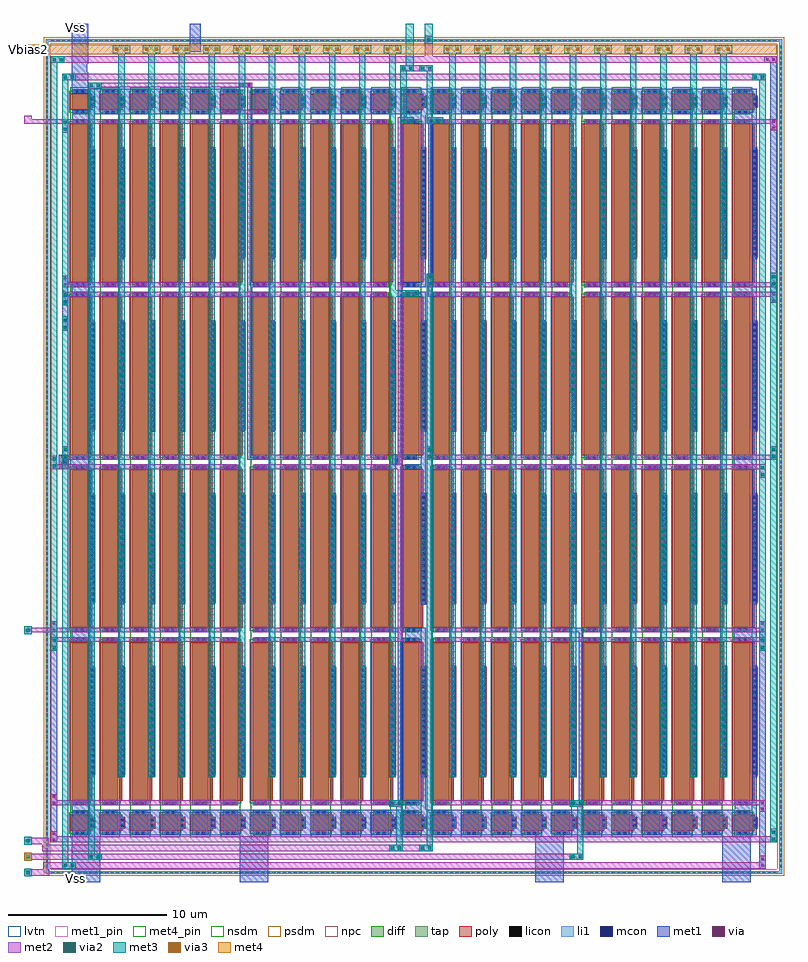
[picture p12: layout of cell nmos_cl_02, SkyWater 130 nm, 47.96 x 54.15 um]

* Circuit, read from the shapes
.subckt nmos_cl_02 Vbias2 Vss
XM1 Vss Vss Vss Vss sky130_fd_pr__nfet_01v8_lvt w=1 l=1 m=46
XM2 Vss Vss Vss Vss sky130_fd_pr__nfet_01v8_lvt w=1 l=10 m=10
XM3 n1 Vbias2 n2 Vss sky130_fd_pr__nfet_01v8_lvt w=1 l=10 m=20
XM4 n3 Vbias2 n4 Vss sky130_fd_pr__nfet_01v8_lvt w=1 l=10 m=20
XM5 n5 Vbias2 n6 Vss sky130_fd_pr__nfet_01v8_lvt w=1 l=10 m=20
XM6 n3 Vbias2 n7 Vss sky130_fd_pr__nfet_01v8_lvt w=1 l=10 m=20
XM7 Vbias2 Vbias2 Vss Vss sky130_fd_pr__nfet_01v8_lvt w=1 l=10 m=2
.ends

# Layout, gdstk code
from math import pi, radians
import gdstk
lib = gdstk.Library(unit=1e-6, precision=1e-09)
def R(c, l, rs):  # rectangles x0, y0, x1, y1
    for r in rs: c.add(gdstk.rectangle(r[:2], r[2:], *l))
def A(c, l, x, y, w, h, nx, ny, dx, dy):  # array of equal rectangles
    R(c, l, [(x+i*dx, y+j*dy, x+i*dx+w, y+j*dy+h) for i in range(nx) for j in range(ny)])
diff = (65, 20)
tap = (65, 44)
poly = (66, 20)
licon = (66, 44)
li1 = (67, 20)
mcon = (67, 44)
met1_pin = (68, 16)
met1 = (68, 20)
via = (68, 44)
met2 = (69, 20)
via2 = (69, 44)
met3 = (70, 20)
via3 = (70, 44)
met4_pin = (71, 16)
met4 = (71, 20)
nsdm = (93, 44)
psdm = (94, 20)
npc = (95, 20)
lvtn = (125, 44)

sky130_fd_pr__nfet_01v8_ = lib.new_cell('sky130_fd_pr__nfet_01v8_lvt_6WKBEZ')
R(sky130_fd_pr__nfet_01v8_, diff, [(-0.79,-0.655,0.79,0.345)])
R(sky130_fd_pr__nfet_01v8_, poly, [(-0.5,-0.785,0.5,0.62), (-0.375,0.62,0.375,0.785)])
R(sky130_fd_pr__nfet_01v8_, licon, [(-0.73,-0.41,-0.56,-0.24), (0.56,-0.41,0.73,-0.24), (-0.73,-0.07,-0.56,0.1), (0.56,-0.07,0.73,0.1), (-0.255,0.535,-0.085,0.705), (0.085,0.535,0.255,0.705)])
R(sky130_fd_pr__nfet_01v8_, li1, [(-0.73,-0.545,-0.56,0.235), (0.56,-0.545,0.73,0.235), (-0.375,0.535,0.375,0.705)])
R(sky130_fd_pr__nfet_01v8_, mcon, [(-0.73,-0.42,-0.56,-0.25), (0.56,-0.42,0.73,-0.25), (-0.73,-0.06,-0.56,0.11), (0.56,-0.06,0.73,0.11), (-0.265,0.535,-0.095,0.705), (0.095,0.535,0.265,0.705)])
R(sky130_fd_pr__nfet_01v8_, met1, [(-0.76,-0.525,-0.53,0.215), (0.53,-0.525,0.76,0.215), (-0.355,0.505,0.355,0.735)])
R(sky130_fd_pr__nfet_01v8_, nsdm, [(-0.915,-0.78,0.915,0.47)])
R(sky130_fd_pr__nfet_01v8_, npc, [(-0.355,0.435,0.355,0.805)])
R(sky130_fd_pr__nfet_01v8_, lvtn, [(-0.68,-0.835,0.68,0.525)])

c_sky130_fd_pr__nfet_01v8_ = lib.new_cell('sky130_fd_pr__nfet_01v8_lvt_F22EEM')
R(c_sky130_fd_pr__nfet_01v8_, diff, [(-5.29,-0.655,5.29,0.345)])
R(c_sky130_fd_pr__nfet_01v8_, poly, [(-5,-0.785,5,0.62), (-3.525,0.62,3.525,0.785)])
A(c_sky130_fd_pr__nfet_01v8_, licon, -3.315, 0.535, 0.17, 0.17, 20, 1, 0.34, 0)
R(c_sky130_fd_pr__nfet_01v8_, licon, [(-5.23,-0.41,-5.06,-0.24), (5.06,-0.41,5.23,-0.24), (-5.23,-0.07,-5.06,0.1), (5.06,-0.07,5.23,0.1)])
R(c_sky130_fd_pr__nfet_01v8_, li1, [(-5.23,-0.545,-5.06,0.235), (5.06,-0.545,5.23,0.235), (-3.525,0.535,3.525,0.705)])
A(c_sky130_fd_pr__nfet_01v8_, mcon, -3.325, 0.535, 0.17, 0.17, 19, 1, 0.36, 0)
R(c_sky130_fd_pr__nfet_01v8_, mcon, [(-5.23,-0.42,-5.06,-0.25), (5.06,-0.42,5.23,-0.25), (-5.23,-0.06,-5.06,0.11), (5.06,-0.06,5.23,0.11)])
R(c_sky130_fd_pr__nfet_01v8_, met1, [(-5.26,-0.525,-5.03,0.215), (5.03,-0.525,5.26,0.215), (-3.505,0.505,3.505,0.735)])
R(c_sky130_fd_pr__nfet_01v8_, nsdm, [(-5.415,-0.78,5.415,0.47)])
R(c_sky130_fd_pr__nfet_01v8_, npc, [(-3.415,0.435,3.415,0.805)])
R(c_sky130_fd_pr__nfet_01v8_, lvtn, [(-5.18,-0.835,5.18,0.525)])

nmos_cl_02 = lib.new_cell('nmos_cl_02')
R(nmos_cl_02, tap, [(-1.585,-26.085,44.885,-25.915), (-1.585,-25.915,-1.415,26.415), (44.715,-25.915,44.885,26.415), (-0.5,-0.32,-0.25,0.17), (20.45,-0.17,20.65,0.27), (-1.585,26.415,44.885,26.585)])
A(nmos_cl_02, licon, -1.215, -26.085, 0.17, 0.17, 135, 2, 0.34, 52.5)
A(nmos_cl_02, licon, -1.585, -25.675, 0.17, 0.17, 1, 153, 0, 0.34)
A(nmos_cl_02, licon, 44.715, -25.675, 0.17, 0.17, 1, 153, 0, 0.34)
R(nmos_cl_02, licon, [(-0.46,-0.16,-0.29,0.01), (20.465,-0.035,20.635,0.135)])
R(nmos_cl_02, li1, [(-1.585,-26.085,44.885,-25.915), (-1.585,-25.915,-1.415,26.415), (44.715,-25.915,44.885,26.415), (-0.5,-0.28,-0.25,0.13), (20.45,-0.13,20.65,0.23), (-1.585,26.415,44.885,26.585)])
R(nmos_cl_02, mcon, [(-0.46,-0.16,-0.29,0.01), (20.465,-0.035,20.635,0.135)])
R(nmos_cl_02, met1_pin, [(0.05,-26.6,0.55,-26.1), (0.05,27.05,0.55,27.55)])
A(nmos_cl_02, met1, 2.1, -21.75, 0.75, 0.3, 9, 2, 1.9, 10.9)
A(nmos_cl_02, met1, 23, -21.75, 0.75, 0.3, 4, 2, 1.9, 10.9)
A(nmos_cl_02, met1, 32.5, -21.75, 0.75, 0.3, 5, 2, 1.9, 10.9)
A(nmos_cl_02, met1, 43, -21.45, 0.3, 10, 1, 3, 0, 10.9)
A(nmos_cl_02, met1, 3, -17.85, 0.4, 2.65, 10, 2, 1.9, 10.95)
A(nmos_cl_02, met1, 23.9, -17.85, 0.4, 2.65, 10, 2, 1.9, 10.95)
A(nmos_cl_02, met1, 2.1, -11.45, 0.75, 0.3, 10, 4, 1.9, 10.9)
A(nmos_cl_02, met1, 23, -11.45, 0.75, 0.3, 10, 2, 1.9, 10.9)
A(nmos_cl_02, met1, 41.85, -11.45, 1.45, 0.9, 1, 3, 0, 10.9)
A(nmos_cl_02, met1, 2.1, 0.05, 0.75, 0.3, 5, 2, 1.9, 10.9)
A(nmos_cl_02, met1, 13.5, 0.05, 0.75, 0.3, 4, 2, 1.9, 10.9)
A(nmos_cl_02, met1, 23, 0.05, 0.75, 0.3, 10, 2, 1.9, 10.9)
A(nmos_cl_02, met1, 3, 4.3, 0.4, 2.65, 10, 2, 1.9, 10.75)
A(nmos_cl_02, met1, 23.9, 4.3, 0.4, 2.65, 10, 2, 1.9, 10.75)
A(nmos_cl_02, met1, 24.9, 10.35, 0.75, 0.3, 9, 2, 1.9, 10.9)
A(nmos_cl_02, met1, 1.2, 11.25, 0.3, 10, 3, 1, 20.9, 0)
R(nmos_cl_02, met1, [(0.05,-26.6,1.85,-23.65), (10.65,-26.6,12.45,-23.65), (29.3,-26.6,31.1,-23.65), (41.1,-26.6,42.9,-23.65), (43.45,-25.75,43.85,-10.15), (-1.25,-24.1,-0.85,-10.15), (0.05,-23.65,43.3,-22.05), (0.05,-22.05,1.5,-21.45), (21.1,-22.05,22.4,-21.45), (41.9,-22.05,43.3,-21.45), (19.2,-21.75,20.95,-21.45), (30.6,-21.75,32.35,-21.45), (1.1,-21.45,1.5,-11.45), (20.65,-21.45,20.95,-10.85), (22.1,-21.45,22.4,-11.45), (32.05,-21.45,32.35,-10.85), (0.05,-11.45,1.5,-10.55), (21.1,-11.45,22.4,-10.55), (19.2,-10.85,20.95,-10.55), (30.6,-10.85,32.35,-10.55), (1.2,-10.55,1.5,-0.55), (22.1,-9.1,22.4,-0.55), (-0.75,-0.55,1.5,0.35), (21.1,-0.55,22.4,-0.25), (20.25,-0.25,20.95,0.05), (22.1,-0.25,22.4,10.35), (11.15,0.05,12.35,0.35), (20.25,0.05,21.85,0.35), (1.2,0.35,1.5,10.35), (11.15,0.35,11.45,10.95), (20.65,0.35,20.95,10.95), (-0.55,8.2,-0.15,11.65), (44.15,9.95,44.55,25.1), (0.05,10.35,1.5,11.25), (21.1,10.35,22.4,10.65), (22.55,10.35,23.75,10.65), (21.1,10.65,21.95,10.75), (22.55,10.65,22.85,21.25), (11.15,10.95,12.35,11.25), (20.65,10.95,22.4,11.25), (11.15,11.25,11.45,23.55), (0.1,21.25,1.5,21.85), (21,21.25,22.4,21.85), (22.55,21.25,23.75,21.55), (41.85,21.25,43.3,21.85), (22.55,21.55,23.5,21.65), (0.1,21.85,11,22.15), (11.6,21.85,43.3,23.45), (1.2,22.15,11,23.15), (0.05,23.15,11,23.4), (0.05,23.4,10.5,23.45), (0.05,23.45,1.1,24.5), (10.65,23.55,11.45,23.85), (0.05,24.5,1.05,25.05), (0.05,25.05,1.1,27.55), (43.75,25.1,44.55,25.5), (7.5,25.8,8.2,27.55)])
A(nmos_cl_02, via, 3.125, -17.725, 0.15, 0.15, 10, 6, 1.9, 0.45)
A(nmos_cl_02, via, 24.025, -17.725, 0.15, 0.15, 10, 6, 1.9, 0.45)
A(nmos_cl_02, via, 3.125, -6.775, 0.15, 0.15, 10, 6, 1.9, 0.45)
A(nmos_cl_02, via, 24.025, -6.775, 0.15, 0.15, 10, 6, 1.9, 0.45)
A(nmos_cl_02, via, 3.125, 4.425, 0.15, 0.15, 10, 6, 1.9, 0.45)
A(nmos_cl_02, via, 24.025, 4.425, 0.15, 0.15, 10, 6, 1.9, 0.45)
A(nmos_cl_02, via, 3.125, 15.175, 0.15, 0.15, 10, 6, 1.9, 0.45)
A(nmos_cl_02, via, 24.025, 15.175, 0.15, 0.15, 10, 6, 1.9, 0.45)
R(nmos_cl_02, via, [(43.575,-25.625,43.725,-25.475), (43.575,-25.225,43.725,-25.075), (-1.125,-24.025,-0.975,-23.875), (-1.125,-23.625,-0.975,-23.475), (43.575,-22.075,43.725,-21.925), (-1.125,-21.675,-0.975,-21.525), (2.24,-21.675,2.39,-21.525), (2.56,-21.675,2.71,-21.525), (4.14,-21.675,4.29,-21.525), (4.46,-21.675,4.61,-21.525), (6.04,-21.675,6.19,-21.525), (6.36,-21.675,6.51,-21.525), (7.94,-21.675,8.09,-21.525), (8.26,-21.675,8.41,-21.525), (9.84,-21.675,9.99,-21.525), (10.16,-21.675,10.31,-21.525), (11.74,-21.675,11.89,-21.525), (12.06,-21.675,12.21,-21.525), (13.64,-21.675,13.79,-21.525), (13.96,-21.675,14.11,-21.525), (15.54,-21.675,15.69,-21.525), (15.86,-21.675,16.01,-21.525), (17.44,-21.675,17.59,-21.525), (17.76,-21.675,17.91,-21.525), (19.34,-21.675,19.49,-21.525), (19.66,-21.675,19.81,-21.525), (20.175,-21.675,20.325,-21.525), (20.675,-21.675,20.825,-21.525), (23.14,-21.675,23.29,-21.525), (23.46,-21.675,23.61,-21.525), (25.04,-21.675,25.19,-21.525), (25.36,-21.675,25.51,-21.525), (26.94,-21.675,27.09,-21.525), (27.26,-21.675,27.41,-21.525), (28.84,-21.675,28.99,-21.525), (29.16,-21.675,29.31,-21.525), (30.74,-21.675,30.89,-21.525), (31.06,-21.675,31.21,-21.525), (31.625,-21.675,31.775,-21.525), (32.075,-21.675,32.225,-21.525), (32.64,-21.675,32.79,-21.525), (32.96,-21.675,33.11,-21.525), (34.54,-21.675,34.69,-21.525), (34.86,-21.675,35.01,-21.525), (36.44,-21.675,36.59,-21.525), (36.76,-21.675,36.91,-21.525), (38.34,-21.675,38.49,-21.525), (38.66,-21.675,38.81,-21.525), (40.24,-21.675,40.39,-21.525), (40.56,-21.675,40.71,-21.525), (43.575,-21.675,43.725,-21.525), (-1.125,-21.275,-0.975,-21.125), (2.24,-11.375,2.39,-11.225), (2.56,-11.375,2.71,-11.225), (4.14,-11.375,4.29,-11.225), (4.46,-11.375,4.61,-11.225), (6.04,-11.375,6.19,-11.225), (6.36,-11.375,6.51,-11.225), (7.94,-11.375,8.09,-11.225), (8.26,-11.375,8.41,-11.225), (9.84,-11.375,9.99,-11.225), (10.16,-11.375,10.31,-11.225), (11.74,-11.375,11.89,-11.225), (12.06,-11.375,12.21,-11.225), (13.64,-11.375,13.79,-11.225), (13.96,-11.375,14.11,-11.225), (15.54,-11.375,15.69,-11.225), (15.86,-11.375,16.01,-11.225), (17.44,-11.375,17.59,-11.225), (17.76,-11.375,17.91,-11.225), (19.34,-11.375,19.49,-11.225), (19.66,-11.375,19.81,-11.225), (23.14,-11.375,23.29,-11.225), (23.46,-11.375,23.61,-11.225), (25.04,-11.375,25.19,-11.225), (25.36,-11.375,25.51,-11.225), (26.94,-11.375,27.09,-11.225), (27.26,-11.375,27.41,-11.225), (28.84,-11.375,28.99,-11.225), (29.16,-11.375,29.31,-11.225), (30.74,-11.375,30.89,-11.225), (31.06,-11.375,31.21,-11.225), (32.64,-11.375,32.79,-11.225), (32.96,-11.375,33.11,-11.225), (34.54,-11.375,34.69,-11.225), (34.86,-11.375,35.01,-11.225), (36.44,-11.375,36.59,-11.225), (36.76,-11.375,36.91,-11.225), (38.34,-11.375,38.49,-11.225), (38.66,-11.375,38.81,-11.225), (40.24,-11.375,40.39,-11.225), (40.56,-11.375,40.71,-11.225), (-1.125,-10.775,-0.975,-10.625), (2.24,-10.775,2.39,-10.625), (2.56,-10.775,2.71,-10.625), (4.14,-10.775,4.29,-10.625), (4.46,-10.775,4.61,-10.625), (6.04,-10.775,6.19,-10.625), (6.36,-10.775,6.51,-10.625), (7.94,-10.775,8.09,-10.625), (8.26,-10.775,8.41,-10.625), (9.84,-10.775,9.99,-10.625), (10.16,-10.775,10.31,-10.625), (11.74,-10.775,11.89,-10.625), (12.06,-10.775,12.21,-10.625), (13.64,-10.775,13.79,-10.625), (13.96,-10.775,14.11,-10.625), (15.54,-10.775,15.69,-10.625), (15.86,-10.775,16.01,-10.625), (17.44,-10.775,17.59,-10.625), (17.76,-10.775,17.91,-10.625), (19.34,-10.775,19.49,-10.625), (19.66,-10.775,19.81,-10.625), (20.075,-10.775,20.225,-10.625), (23.14,-10.775,23.29,-10.625), (23.46,-10.775,23.61,-10.625), (25.04,-10.775,25.19,-10.625), (25.36,-10.775,25.51,-10.625), (26.94,-10.775,27.09,-10.625), (27.26,-10.775,27.41,-10.625), (28.84,-10.775,28.99,-10.625), (29.16,-10.775,29.31,-10.625), (30.74,-10.775,30.89,-10.625), (31.06,-10.775,31.21,-10.625), (32.64,-10.775,32.79,-10.625), (32.96,-10.775,33.11,-10.625), (34.54,-10.775,34.69,-10.625), (34.86,-10.775,35.01,-10.625), (36.44,-10.775,36.59,-10.625), (36.76,-10.775,36.91,-10.625), (38.34,-10.775,38.49,-10.625), (38.66,-10.775,38.81,-10.625), (40.24,-10.775,40.39,-10.625), (40.56,-10.775,40.71,-10.625), (43.575,-10.775,43.725,-10.625), (-1.125,-10.375,-0.975,-10.225), (43.575,-10.375,43.725,-10.225), (2.24,-0.475,2.39,-0.325), (2.56,-0.475,2.71,-0.325), (4.14,-0.475,4.29,-0.325), (4.46,-0.475,4.61,-0.325), (6.04,-0.475,6.19,-0.325), (6.36,-0.475,6.51,-0.325), (7.94,-0.475,8.09,-0.325), (8.26,-0.475,8.41,-0.325), (9.84,-0.475,9.99,-0.325), (10.16,-0.475,10.31,-0.325), (11.74,-0.475,11.89,-0.325), (12.06,-0.475,12.21,-0.325), (13.64,-0.475,13.79,-0.325), (13.96,-0.475,14.11,-0.325), (15.54,-0.475,15.69,-0.325), (15.86,-0.475,16.01,-0.325), (17.44,-0.475,17.59,-0.325), (17.76,-0.475,17.91,-0.325), (19.34,-0.475,19.49,-0.325), (19.66,-0.475,19.81,-0.325), (23.14,-0.475,23.29,-0.325), (23.46,-0.475,23.61,-0.325), (25.04,-0.475,25.19,-0.325), (25.36,-0.475,25.51,-0.325), (26.94,-0.475,27.09,-0.325), (27.26,-0.475,27.41,-0.325), (28.84,-0.475,28.99,-0.325), (29.16,-0.475,29.31,-0.325), (30.74,-0.475,30.89,-0.325), (31.06,-0.475,31.21,-0.325), (32.64,-0.475,32.79,-0.325), (32.96,-0.475,33.11,-0.325), (34.54,-0.475,34.69,-0.325), (34.86,-0.475,35.01,-0.325), (36.44,-0.475,36.59,-0.325), (36.76,-0.475,36.91,-0.325), (38.34,-0.475,38.49,-0.325), (38.66,-0.475,38.81,-0.325), (40.24,-0.475,40.39,-0.325), (40.56,-0.475,40.71,-0.325), (2.24,0.125,2.39,0.275), (2.56,0.125,2.71,0.275), (4.14,0.125,4.29,0.275), (4.46,0.125,4.61,0.275), (6.04,0.125,6.19,0.275), (6.36,0.125,6.51,0.275), (7.94,0.125,8.09,0.275), (8.26,0.125,8.41,0.275), (9.84,0.125,9.99,0.275), (10.16,0.125,10.31,0.275), (11.74,0.125,11.89,0.275), (12.06,0.125,12.21,0.275), (13.64,0.125,13.79,0.275), (13.96,0.125,14.11,0.275), (15.54,0.125,15.69,0.275), (15.86,0.125,16.01,0.275), (17.44,0.125,17.59,0.275), (17.76,0.125,17.91,0.275), (19.34,0.125,19.49,0.275), (19.66,0.125,19.81,0.275), (23.14,0.125,23.29,0.275), (23.46,0.125,23.61,0.275), (25.04,0.125,25.19,0.275), (25.36,0.125,25.51,0.275), (26.94,0.125,27.09,0.275), (27.26,0.125,27.41,0.275), (28.84,0.125,28.99,0.275), (29.16,0.125,29.31,0.275), (30.74,0.125,30.89,0.275), (31.06,0.125,31.21,0.275), (32.64,0.125,32.79,0.275), (32.96,0.125,33.11,0.275), (34.54,0.125,34.69,0.275), (34.86,0.125,35.01,0.275), (36.44,0.125,36.59,0.275), (36.76,0.125,36.91,0.275), (38.34,0.125,38.49,0.275), (38.66,0.125,38.81,0.275), (40.24,0.125,40.39,0.275), (40.56,0.125,40.71,0.275), (-0.425,8.325,-0.275,8.475), (-0.425,8.775,-0.275,8.925), (44.275,10.025,44.425,10.175), (2.24,10.425,2.39,10.575), (2.56,10.425,2.71,10.575), (4.14,10.425,4.29,10.575), (4.46,10.425,4.61,10.575), (6.04,10.425,6.19,10.575), (6.36,10.425,6.51,10.575), (7.94,10.425,8.09,10.575), (8.26,10.425,8.41,10.575), (9.84,10.425,9.99,10.575), (10.16,10.425,10.31,10.575), (11.74,10.425,11.89,10.575), (12.06,10.425,12.21,10.575), (13.64,10.425,13.79,10.575), (13.96,10.425,14.11,10.575), (15.54,10.425,15.69,10.575), (15.86,10.425,16.01,10.575), (17.44,10.425,17.59,10.575), (17.76,10.425,17.91,10.575), (19.34,10.425,19.49,10.575), (19.66,10.425,19.81,10.575), (23.14,10.425,23.29,10.575), (23.46,10.425,23.61,10.575), (25.04,10.425,25.19,10.575), (25.36,10.425,25.51,10.575), (26.94,10.425,27.09,10.575), (27.26,10.425,27.41,10.575), (28.84,10.425,28.99,10.575), (29.16,10.425,29.31,10.575), (30.74,10.425,30.89,10.575), (31.06,10.425,31.21,10.575), (32.64,10.425,32.79,10.575), (32.96,10.425,33.11,10.575), (34.54,10.425,34.69,10.575), (34.86,10.425,35.01,10.575), (36.44,10.425,36.59,10.575), (36.76,10.425,36.91,10.575), (38.34,10.425,38.49,10.575), (38.66,10.425,38.81,10.575), (40.24,10.425,40.39,10.575), (40.56,10.425,40.71,10.575), (44.275,10.425,44.425,10.575), (21.225,10.475,21.375,10.625), (21.675,10.475,21.825,10.625), (-0.425,11.025,-0.275,11.175), (2.24,11.025,2.39,11.175), (2.56,11.025,2.71,11.175), (4.14,11.025,4.29,11.175), (4.46,11.025,4.61,11.175), (6.04,11.025,6.19,11.175), (6.36,11.025,6.51,11.175), (7.94,11.025,8.09,11.175), (8.26,11.025,8.41,11.175), (9.84,11.025,9.99,11.175), (10.16,11.025,10.31,11.175), (11.74,11.025,11.89,11.175), (12.06,11.025,12.21,11.175), (13.64,11.025,13.79,11.175), (13.96,11.025,14.11,11.175), (15.54,11.025,15.69,11.175), (15.86,11.025,16.01,11.175), (17.44,11.025,17.59,11.175), (17.76,11.025,17.91,11.175), (19.34,11.025,19.49,11.175), (19.66,11.025,19.81,11.175), (23.14,11.025,23.29,11.175), (23.46,11.025,23.61,11.175), (25.04,11.025,25.19,11.175), (25.36,11.025,25.51,11.175), (26.94,11.025,27.09,11.175), (27.26,11.025,27.41,11.175), (28.84,11.025,28.99,11.175), (29.16,11.025,29.31,11.175), (30.74,11.025,30.89,11.175), (31.06,11.025,31.21,11.175), (32.64,11.025,32.79,11.175), (32.96,11.025,33.11,11.175), (34.54,11.025,34.69,11.175), (34.86,11.025,35.01,11.175), (36.44,11.025,36.59,11.175), (36.76,11.025,36.91,11.175), (38.34,11.025,38.49,11.175), (38.66,11.025,38.81,11.175), (40.24,11.025,40.39,11.175), (40.56,11.025,40.71,11.175), (-0.425,11.425,-0.275,11.575), (44.275,20.925,44.425,21.075), (2.24,21.325,2.39,21.475), (2.56,21.325,2.71,21.475), (4.14,21.325,4.29,21.475), (4.46,21.325,4.61,21.475), (6.04,21.325,6.19,21.475), (6.36,21.325,6.51,21.475), (7.94,21.325,8.09,21.475), (8.26,21.325,8.41,21.475), (9.84,21.325,9.99,21.475), (10.16,21.325,10.31,21.475), (11.74,21.325,11.89,21.475), (12.06,21.325,12.21,21.475), (13.64,21.325,13.79,21.475), (13.96,21.325,14.11,21.475), (15.54,21.325,15.69,21.475), (15.86,21.325,16.01,21.475), (17.44,21.325,17.59,21.475), (17.76,21.325,17.91,21.475), (19.34,21.325,19.49,21.475), (19.66,21.325,19.81,21.475), (23.48,21.325,23.63,21.475), (25.04,21.325,25.19,21.475), (25.36,21.325,25.51,21.475), (26.94,21.325,27.09,21.475), (27.26,21.325,27.41,21.475), (28.84,21.325,28.99,21.475), (29.16,21.325,29.31,21.475), (30.74,21.325,30.89,21.475), (31.06,21.325,31.21,21.475), (32.64,21.325,32.79,21.475), (32.96,21.325,33.11,21.475), (34.54,21.325,34.69,21.475), (34.86,21.325,35.01,21.475), (36.44,21.325,36.59,21.475), (36.76,21.325,36.91,21.475), (38.34,21.325,38.49,21.475), (38.66,21.325,38.81,21.475), (40.24,21.325,40.39,21.475), (40.56,21.325,40.71,21.475), (44.275,21.325,44.425,21.475), (23.125,21.35,23.275,21.5), (22.675,21.375,22.825,21.525), (9.725,21.925,9.875,22.075), (10.125,21.925,10.275,22.075), (11.725,21.925,11.875,22.075), (12.225,21.925,12.375,22.075), (10.775,23.625,10.925,23.775), (11.175,23.625,11.325,23.775), (43.875,25.225,44.025,25.375), (44.275,25.225,44.425,25.375)])
A(nmos_cl_02, met2, 3, -17.85, 0.4, 2.65, 10, 2, 1.9, 10.95)
A(nmos_cl_02, met2, 23.9, -17.85, 0.4, 2.65, 10, 2, 1.9, 10.95)
A(nmos_cl_02, met2, 3, 4.3, 0.4, 2.65, 10, 2, 1.9, 10.75)
A(nmos_cl_02, met2, 23.9, 4.3, 0.4, 2.65, 10, 2, 1.9, 10.75)
R(nmos_cl_02, met2, [(-2.95,-26.25,-2.45,-26.2), (-2.95,-26.2,-1.35,-25.8), (-2.95,-25.8,-2.45,-25.75), (-1.75,-25.8,-1.35,-25.75), (-1.75,-25.75,43.85,-25.35), (43.45,-25.35,43.85,-24.95), (-2.95,-25.25,-2.45,-25.2), (-2.95,-25.2,32.35,-24.8), (-2.95,-24.8,-2.45,-24.75), (-1.8,-24.65,22.85,-24.25), (-2.95,-24.25,-2.45,-24.2), (-1.8,-24.25,-1.4,-24.2), (-2.95,-24.2,-1.4,-23.8), (-1.25,-24.1,44.55,-23.7), (-2.95,-23.8,-2.45,-23.75), (-1.25,-23.7,-0.85,-23.4), (44.15,-23.7,44.55,-23.25), (43.45,-22.15,43.85,-21.75), (20.1,-21.85,20.95,-21.75), (31.5,-21.85,32.35,-21.75), (-1.25,-21.75,10.45,-21.45), (11.6,-21.75,20.95,-21.45), (23,-21.75,32.35,-21.45), (32.5,-21.75,43.85,-21.45), (-1.25,-21.45,-0.85,-21.05), (-1.25,-12,-0.85,-11.45), (43.45,-12,43.85,-11.45), (-1.25,-11.45,10.45,-11.15), (11.6,-11.45,20.95,-11.15), (23,-11.45,43.85,-11.15), (20.65,-11.15,20.95,-0.55), (-2.95,-10.95,-2.45,-10.85), (-2.95,-10.85,10.45,-10.55), (11.6,-10.85,20.35,-10.55), (23,-10.85,31.35,-10.55), (32.5,-10.85,43.85,-10.55), (-2.95,-10.55,-2.45,-10.45), (-1.25,-10.55,-0.85,-10.15), (43.45,-10.55,43.85,-10.15), (43.45,-1.1,43.85,-0.55), (-1.25,-0.55,10.45,-0.25), (11.6,-0.55,20.95,-0.25), (23,-0.55,43.85,-0.25), (-1.25,-0.25,-0.85,0.3), (20.65,-0.25,20.95,21.25), (-0.55,0.05,10.45,0.35), (11.6,0.05,19.95,0.35), (22.45,0.05,31.35,0.35), (32.5,0.05,44.55,0.35), (-0.55,0.35,-0.15,0.9), (22.45,0.35,22.85,0.9), (44.15,0.35,44.55,0.9), (-0.55,8.2,-0.15,9.1), (-0.55,9.8,-0.15,10.35), (44.15,9.95,44.55,10.35), (-0.55,10.35,19.95,10.65), (21.1,10.35,21.95,10.75), (23,10.35,31.35,10.65), (32.5,10.35,44.55,10.65), (-0.55,10.95,10.45,11.25), (11.6,10.95,19.95,11.25), (22.45,10.95,31.35,11.25), (32.5,10.95,44.55,11.25), (-0.55,11.25,-0.15,11.65), (22.45,11.25,22.85,11.8), (44.15,11.25,44.55,11.85), (-0.55,20.7,-0.15,21.25), (44.15,20.85,44.55,21.25), (-2.95,21.25,19.95,21.55), (20.65,21.25,21.65,21.65), (22.45,21.25,31.35,21.55), (31.5,21.25,31.9,21.55), (32.5,21.25,44.55,21.55), (-2.95,21.55,-2.45,21.75), (22.45,21.55,23.5,21.65), (9.55,21.85,12.9,22.15), (1.1,23.45,1.95,23.55), (1.1,23.55,11.45,23.85), (-0.55,24,43.85,24.4), (20.8,24.55,22.85,24.95), (-1.25,25.1,44.55,25.5), (22.35,25.5,22.85,26.8)])
A(nmos_cl_02, via2, -2.8, -26.1, 0.2, 0.2, 1, 3, 0, 1)
A(nmos_cl_02, via2, 3.1, -17.75, 0.2, 0.2, 10, 6, 1.9, 0.45)
A(nmos_cl_02, via2, 24, -17.75, 0.2, 0.2, 10, 6, 1.9, 0.45)
A(nmos_cl_02, via2, 3.1, -6.8, 0.2, 0.2, 10, 6, 1.9, 0.45)
A(nmos_cl_02, via2, 24, -6.8, 0.2, 0.2, 10, 6, 1.9, 0.45)
A(nmos_cl_02, via2, 3.1, 4.4, 0.2, 0.2, 10, 6, 1.9, 0.45)
A(nmos_cl_02, via2, 24, 4.4, 0.2, 0.2, 10, 6, 1.9, 0.45)
A(nmos_cl_02, via2, 3.1, 15.15, 0.2, 0.2, 10, 6, 1.9, 0.45)
A(nmos_cl_02, via2, 24, 15.15, 0.2, 0.2, 10, 6, 1.9, 0.45)
R(nmos_cl_02, via2, [(-0.45,-25.65,-0.25,-25.45), (0,-25.65,0.2,-25.45), (1.2,-25.1,1.4,-24.9), (1.65,-25.1,1.85,-24.9), (31.6,-25.1,31.8,-24.9), (32.05,-25.1,32.25,-24.9), (20.2,-24.55,20.4,-24.35), (20.65,-24.55,20.85,-24.35), (22.1,-24.55,22.3,-24.35), (22.55,-24.55,22.75,-24.35), (44.25,-24,44.45,-23.8), (44.25,-23.55,44.45,-23.35), (20.2,-21.75,20.4,-21.55), (20.65,-21.75,20.85,-21.55), (31.6,-21.75,31.8,-21.55), (32.05,-21.75,32.25,-21.55), (-1.15,-11.9,-0.95,-11.7), (43.55,-11.9,43.75,-11.7), (-1.15,-11.45,-0.95,-11.25), (43.55,-11.45,43.75,-11.25), (-2.8,-10.8,-2.6,-10.6), (43.55,-1,43.75,-0.8), (43.55,-0.55,43.75,-0.35), (-1.15,-0.45,-0.95,-0.25), (-1.15,0,-0.95,0.2), (-0.45,0.15,-0.25,0.35), (22.55,0.15,22.75,0.35), (44.25,0.15,44.45,0.35), (-0.45,0.6,-0.25,0.8), (22.55,0.6,22.75,0.8), (44.25,0.6,44.45,0.8), (-0.45,8.3,-0.25,8.5), (-0.45,8.75,-0.25,8.95), (-0.45,9.9,-0.25,10.1), (-0.45,10.35,-0.25,10.55), (21.2,10.45,21.4,10.65), (21.65,10.45,21.85,10.65), (22.55,11.05,22.75,11.25), (44.25,11.05,44.45,11.25), (22.55,11.5,22.75,11.7), (44.25,11.5,44.45,11.7), (-0.45,20.8,-0.25,21), (-0.45,21.25,-0.25,21.45), (20.9,21.35,21.1,21.55), (21.35,21.35,21.55,21.55), (22.65,21.35,22.85,21.55), (23.1,21.35,23.3,21.55), (1.2,23.55,1.4,23.75), (1.65,23.55,1.85,23.75), (-0.45,24.1,-0.25,24.3), (0,24.1,0.2,24.3), (43.1,24.1,43.3,24.3), (43.55,24.1,43.75,24.3), (20.9,24.65,21.1,24.85), (21.35,24.65,21.55,24.85), (22.1,24.65,22.3,24.85), (22.55,24.65,22.75,24.85), (-1.15,25.2,-0.95,25.4), (-0.7,25.2,-0.5,25.4), (22.5,26.45,22.7,26.65)])
A(nmos_cl_02, met3, -2.95, -26.25, 0.5, 0.5, 1, 3, 0, 1)
A(nmos_cl_02, met3, 3, -20, 0.4, 45.7, 9, 1, 1.9, 0)
A(nmos_cl_02, met3, 23.9, -20, 0.4, 45.7, 10, 1, 1.9, 0)
A(nmos_cl_02, met3, 2.65, 25.7, 1.1, 0.5, 10, 1, 1.9, 0)
A(nmos_cl_02, met3, 23.55, 25.7, 1.1, 0.5, 10, 1, 1.9, 0)
R(nmos_cl_02, met3, [(-0.55,-25.75,0.3,-25.35), (-0.55,-25.35,-0.15,9.1), (1.1,-25.2,1.95,-24.8), (31.5,-25.2,32.35,-24.8), (1.1,-24.8,1.5,23.45), (31.95,-24.8,32.35,-21.85), (20.1,-24.65,20.95,-24.25), (22,-24.65,22.85,-24.25), (20.55,-24.25,20.95,-21.85), (22.45,-24.25,22.85,11.8), (44.15,-24.1,44.55,11.85), (20.1,-21.85,20.95,-21.45), (31.5,-21.85,32.35,-21.45), (20.1,-20,20.5,10.35), (-1.25,-12,-0.85,25.1), (43.45,-12,43.85,24), (-2.95,-10.95,-2.45,-10.45), (-0.55,9.8,-0.15,24), (20.1,10.35,21.95,10.75), (20.1,10.75,20.5,25.7), (20.8,21.25,21.65,21.65), (22.45,21.25,23.5,21.65), (20.8,21.65,21.2,24.55), (22.45,21.65,22.85,24.55), (1.1,23.45,1.95,23.85), (-0.55,24,0.3,24.4), (43,24,43.85,24.4), (20.8,24.55,21.65,24.95), (22,24.55,22.85,24.95), (21.15,24.95,21.65,27.55), (-1.25,25.1,-0.4,25.5), (22.35,26.3,22.85,27.55)])
R(nmos_cl_02, via3, [(2.8,25.85,3,26.05), (3.4,25.85,3.6,26.05), (4.7,25.85,4.9,26.05), (5.3,25.85,5.5,26.05), (6.6,25.85,6.8,26.05), (7.2,25.85,7.4,26.05), (8.5,25.85,8.7,26.05), (9.1,25.85,9.3,26.05), (10.4,25.85,10.6,26.05), (11,25.85,11.2,26.05), (12.3,25.85,12.5,26.05), (12.9,25.85,13.1,26.05), (14.2,25.85,14.4,26.05), (14.8,25.85,15,26.05), (16.1,25.85,16.3,26.05), (16.7,25.85,16.9,26.05), (18,25.85,18.2,26.05), (18.6,25.85,18.8,26.05), (19.9,25.85,20.1,26.05), (20.5,25.85,20.7,26.05), (23.7,25.85,23.9,26.05), (24.3,25.85,24.5,26.05), (25.6,25.85,25.8,26.05), (26.2,25.85,26.4,26.05), (27.5,25.85,27.7,26.05), (28.1,25.85,28.3,26.05), (29.4,25.85,29.6,26.05), (30,25.85,30.2,26.05), (31.3,25.85,31.5,26.05), (31.9,25.85,32.1,26.05), (33.2,25.85,33.4,26.05), (33.8,25.85,34,26.05), (35.1,25.85,35.3,26.05), (35.7,25.85,35.9,26.05), (37,25.85,37.2,26.05), (37.6,25.85,37.8,26.05), (38.9,25.85,39.1,26.05), (39.5,25.85,39.7,26.05), (40.8,25.85,41,26.05), (41.4,25.85,41.6,26.05)])
R(nmos_cl_02, met4_pin, [(-2.95,25.65,-2.35,26.25)])
R(nmos_cl_02, met4, [(-2.95,-25.25,-2.45,-24.75), (-2.95,25.65,44.55,26.25)])
A(nmos_cl_02, nsdm, -0.045, -21.945, 1.25, 0.07, 23, 5, 1.9, 10.9)
R(nmos_cl_02, psdm, [(-1.71,-26.21,45.01,-25.79), (-1.71,-25.79,-1.29,26.29), (44.59,-25.79,45.01,26.29), (-0.625,-0.445,-0.125,0.295), (20.325,-0.295,20.775,0.395), (-1.71,26.29,45.01,26.71)])
nmos_cl_02.add(gdstk.Reference(sky130_fd_pr__nfet_01v8_, (21.635,-22.86), rotation=pi/2, x_reflection=True))
nmos_cl_02.add(gdstk.Reference(c_sky130_fd_pr__nfet_01v8_, (21.635,-16.46), rotation=pi/2, x_reflection=True))
nmos_cl_02.add(gdstk.Reference(c_sky130_fd_pr__nfet_01v8_, (21.635,-5.56), rotation=pi/2, x_reflection=True))
nmos_cl_02.add(gdstk.Reference(c_sky130_fd_pr__nfet_01v8_, (21.635,5.34), rotation=pi/2, x_reflection=True))
nmos_cl_02.add(gdstk.Reference(c_sky130_fd_pr__nfet_01v8_, (21.635,16.24), rotation=pi/2, x_reflection=True))
nmos_cl_02.add(gdstk.Reference(sky130_fd_pr__nfet_01v8_, (21.635,22.64), rotation=pi/2, x_reflection=True))
nmos_cl_02.add(gdstk.Reference(c_sky130_fd_pr__nfet_01v8_, (27.335,5.34), rotation=pi/2, x_reflection=True))
nmos_cl_02.add(gdstk.Reference(c_sky130_fd_pr__nfet_01v8_, (29.235,5.34), rotation=pi/2, x_reflection=True))
nmos_cl_02.add(gdstk.Reference(c_sky130_fd_pr__nfet_01v8_, (31.135,5.34), rotation=pi/2, x_reflection=True))
nmos_cl_02.add(gdstk.Reference(c_sky130_fd_pr__nfet_01v8_, (33.035,5.34), rotation=pi/2, x_reflection=True))
nmos_cl_02.add(gdstk.Reference(c_sky130_fd_pr__nfet_01v8_, (34.935,5.34), rotation=pi/2, x_reflection=True))
nmos_cl_02.add(gdstk.Reference(c_sky130_fd_pr__nfet_01v8_, (36.835,5.34), rotation=pi/2, x_reflection=True))
nmos_cl_02.add(gdstk.Reference(c_sky130_fd_pr__nfet_01v8_, (38.735,5.34), rotation=pi/2, x_reflection=True))
nmos_cl_02.add(gdstk.Reference(c_sky130_fd_pr__nfet_01v8_, (40.635,5.34), rotation=pi/2, x_reflection=True))
nmos_cl_02.add(gdstk.Reference(c_sky130_fd_pr__nfet_01v8_, (42.535,5.34), rotation=pi/2, x_reflection=True))
nmos_cl_02.add(gdstk.Reference(c_sky130_fd_pr__nfet_01v8_, (23.535,5.34), rotation=pi/2, x_reflection=True))
nmos_cl_02.add(gdstk.Reference(c_sky130_fd_pr__nfet_01v8_, (23.535,16.24), rotation=pi/2, x_reflection=True))
nmos_cl_02.add(gdstk.Reference(c_sky130_fd_pr__nfet_01v8_, (25.435,16.24), rotation=pi/2, x_reflection=True))
nmos_cl_02.add(gdstk.Reference(c_sky130_fd_pr__nfet_01v8_, (27.335,16.24), rotation=pi/2, x_reflection=True))
nmos_cl_02.add(gdstk.Reference(c_sky130_fd_pr__nfet_01v8_, (29.235,16.24), rotation=pi/2, x_reflection=True))
nmos_cl_02.add(gdstk.Reference(c_sky130_fd_pr__nfet_01v8_, (31.135,16.24), rotation=pi/2, x_reflection=True))
nmos_cl_02.add(gdstk.Reference(c_sky130_fd_pr__nfet_01v8_, (33.035,16.24), rotation=pi/2, x_reflection=True))
nmos_cl_02.add(gdstk.Reference(c_sky130_fd_pr__nfet_01v8_, (34.935,16.24), rotation=pi/2, x_reflection=True))
nmos_cl_02.add(gdstk.Reference(c_sky130_fd_pr__nfet_01v8_, (36.835,16.24), rotation=pi/2, x_reflection=True))
nmos_cl_02.add(gdstk.Reference(c_sky130_fd_pr__nfet_01v8_, (38.735,16.24), rotation=pi/2, x_reflection=True))
nmos_cl_02.add(gdstk.Reference(c_sky130_fd_pr__nfet_01v8_, (40.635,16.24), rotation=pi/2, x_reflection=True))
nmos_cl_02.add(gdstk.Reference(c_sky130_fd_pr__nfet_01v8_, (42.535,16.24), rotation=pi/2, x_reflection=True))
nmos_cl_02.add(gdstk.Reference(c_sky130_fd_pr__nfet_01v8_, (25.435,5.34), rotation=pi/2, x_reflection=True))
nmos_cl_02.add(gdstk.Reference(sky130_fd_pr__nfet_01v8_, (23.535,22.64), rotation=pi/2, x_reflection=True))
nmos_cl_02.add(gdstk.Reference(sky130_fd_pr__nfet_01v8_, (25.435,22.64), rotation=pi/2, x_reflection=True))
nmos_cl_02.add(gdstk.Reference(sky130_fd_pr__nfet_01v8_, (27.335,22.64), rotation=pi/2, x_reflection=True))
nmos_cl_02.add(gdstk.Reference(sky130_fd_pr__nfet_01v8_, (29.235,22.64), rotation=pi/2, x_reflection=True))
nmos_cl_02.add(gdstk.Reference(sky130_fd_pr__nfet_01v8_, (31.135,22.64), rotation=pi/2, x_reflection=True))
nmos_cl_02.add(gdstk.Reference(sky130_fd_pr__nfet_01v8_, (33.035,22.64), rotation=pi/2, x_reflection=True))
nmos_cl_02.add(gdstk.Reference(sky130_fd_pr__nfet_01v8_, (34.935,22.64), rotation=pi/2, x_reflection=True))
nmos_cl_02.add(gdstk.Reference(sky130_fd_pr__nfet_01v8_, (36.835,22.64), rotation=pi/2, x_reflection=True))
nmos_cl_02.add(gdstk.Reference(sky130_fd_pr__nfet_01v8_, (38.735,22.64), rotation=pi/2, x_reflection=True))
nmos_cl_02.add(gdstk.Reference(sky130_fd_pr__nfet_01v8_, (40.635,22.64), rotation=pi/2, x_reflection=True))
nmos_cl_02.add(gdstk.Reference(sky130_fd_pr__nfet_01v8_, (42.535,22.64), rotation=pi/2, x_reflection=True))
nmos_cl_02.add(gdstk.Reference(c_sky130_fd_pr__nfet_01v8_, (6.435,5.34), rotation=pi/2, x_reflection=True))
nmos_cl_02.add(gdstk.Reference(c_sky130_fd_pr__nfet_01v8_, (8.335,5.34), rotation=pi/2, x_reflection=True))
nmos_cl_02.add(gdstk.Reference(c_sky130_fd_pr__nfet_01v8_, (10.235,5.34), rotation=pi/2, x_reflection=True))
nmos_cl_02.add(gdstk.Reference(c_sky130_fd_pr__nfet_01v8_, (12.135,5.34), rotation=pi/2, x_reflection=True))
nmos_cl_02.add(gdstk.Reference(c_sky130_fd_pr__nfet_01v8_, (14.035,5.34), rotation=pi/2, x_reflection=True))
nmos_cl_02.add(gdstk.Reference(c_sky130_fd_pr__nfet_01v8_, (15.935,5.34), rotation=pi/2, x_reflection=True))
nmos_cl_02.add(gdstk.Reference(c_sky130_fd_pr__nfet_01v8_, (17.835,5.34), rotation=pi/2, x_reflection=True))
nmos_cl_02.add(gdstk.Reference(c_sky130_fd_pr__nfet_01v8_, (19.735,5.34), rotation=pi/2, x_reflection=True))
nmos_cl_02.add(gdstk.Reference(c_sky130_fd_pr__nfet_01v8_, (0.735,5.34), rotation=pi/2, x_reflection=True))
nmos_cl_02.add(gdstk.Reference(c_sky130_fd_pr__nfet_01v8_, (0.735,16.24), rotation=pi/2, x_reflection=True))
nmos_cl_02.add(gdstk.Reference(sky130_fd_pr__nfet_01v8_, (0.735,22.64), rotation=pi/2, x_reflection=True))
nmos_cl_02.add(gdstk.Reference(sky130_fd_pr__nfet_01v8_, (2.635,22.64), rotation=pi/2, x_reflection=True))
nmos_cl_02.add(gdstk.Reference(sky130_fd_pr__nfet_01v8_, (4.535,22.64), rotation=pi/2, x_reflection=True))
nmos_cl_02.add(gdstk.Reference(sky130_fd_pr__nfet_01v8_, (6.435,22.64), rotation=pi/2, x_reflection=True))
nmos_cl_02.add(gdstk.Reference(sky130_fd_pr__nfet_01v8_, (8.335,22.64), rotation=pi/2, x_reflection=True))
nmos_cl_02.add(gdstk.Reference(sky130_fd_pr__nfet_01v8_, (10.235,22.64), rotation=pi/2, x_reflection=True))
nmos_cl_02.add(gdstk.Reference(sky130_fd_pr__nfet_01v8_, (12.135,22.64), rotation=pi/2, x_reflection=True))
nmos_cl_02.add(gdstk.Reference(sky130_fd_pr__nfet_01v8_, (14.035,22.64), rotation=pi/2, x_reflection=True))
nmos_cl_02.add(gdstk.Reference(sky130_fd_pr__nfet_01v8_, (15.935,22.64), rotation=pi/2, x_reflection=True))
nmos_cl_02.add(gdstk.Reference(sky130_fd_pr__nfet_01v8_, (17.835,22.64), rotation=pi/2, x_reflection=True))
nmos_cl_02.add(gdstk.Reference(sky130_fd_pr__nfet_01v8_, (19.735,22.64), rotation=pi/2, x_reflection=True))
nmos_cl_02.add(gdstk.Reference(c_sky130_fd_pr__nfet_01v8_, (2.635,16.24), rotation=pi/2, x_reflection=True))
nmos_cl_02.add(gdstk.Reference(c_sky130_fd_pr__nfet_01v8_, (4.535,16.24), rotation=pi/2, x_reflection=True))
nmos_cl_02.add(gdstk.Reference(c_sky130_fd_pr__nfet_01v8_, (6.435,16.24), rotation=pi/2, x_reflection=True))
nmos_cl_02.add(gdstk.Reference(c_sky130_fd_pr__nfet_01v8_, (8.335,16.24), rotation=pi/2, x_reflection=True))
nmos_cl_02.add(gdstk.Reference(c_sky130_fd_pr__nfet_01v8_, (10.235,16.24), rotation=pi/2, x_reflection=True))
nmos_cl_02.add(gdstk.Reference(c_sky130_fd_pr__nfet_01v8_, (12.135,16.24), rotation=pi/2, x_reflection=True))
nmos_cl_02.add(gdstk.Reference(c_sky130_fd_pr__nfet_01v8_, (14.035,16.24), rotation=pi/2, x_reflection=True))
nmos_cl_02.add(gdstk.Reference(c_sky130_fd_pr__nfet_01v8_, (15.935,16.24), rotation=pi/2, x_reflection=True))
nmos_cl_02.add(gdstk.Reference(c_sky130_fd_pr__nfet_01v8_, (17.835,16.24), rotation=pi/2, x_reflection=True))
nmos_cl_02.add(gdstk.Reference(c_sky130_fd_pr__nfet_01v8_, (19.735,16.24), rotation=pi/2, x_reflection=True))
nmos_cl_02.add(gdstk.Reference(c_sky130_fd_pr__nfet_01v8_, (2.635,5.34), rotation=pi/2, x_reflection=True))
nmos_cl_02.add(gdstk.Reference(c_sky130_fd_pr__nfet_01v8_, (4.535,5.34), rotation=pi/2, x_reflection=True))
nmos_cl_02.add(gdstk.Reference(sky130_fd_pr__nfet_01v8_, (6.435,-22.86), rotation=pi/2, x_reflection=True))
nmos_cl_02.add(gdstk.Reference(c_sky130_fd_pr__nfet_01v8_, (6.435,-16.46), rotation=pi/2, x_reflection=True))
nmos_cl_02.add(gdstk.Reference(sky130_fd_pr__nfet_01v8_, (8.335,-22.86), rotation=pi/2, x_reflection=True))
nmos_cl_02.add(gdstk.Reference(c_sky130_fd_pr__nfet_01v8_, (8.335,-16.46), rotation=pi/2, x_reflection=True))
nmos_cl_02.add(gdstk.Reference(sky130_fd_pr__nfet_01v8_, (10.235,-22.86), rotation=pi/2, x_reflection=True))
nmos_cl_02.add(gdstk.Reference(c_sky130_fd_pr__nfet_01v8_, (10.235,-16.46), rotation=pi/2, x_reflection=True))
nmos_cl_02.add(gdstk.Reference(sky130_fd_pr__nfet_01v8_, (12.135,-22.86), rotation=pi/2, x_reflection=True))
nmos_cl_02.add(gdstk.Reference(c_sky130_fd_pr__nfet_01v8_, (12.135,-16.46), rotation=pi/2, x_reflection=True))
nmos_cl_02.add(gdstk.Reference(sky130_fd_pr__nfet_01v8_, (14.035,-22.86), rotation=pi/2, x_reflection=True))
nmos_cl_02.add(gdstk.Reference(c_sky130_fd_pr__nfet_01v8_, (14.035,-16.46), rotation=pi/2, x_reflection=True))
nmos_cl_02.add(gdstk.Reference(sky130_fd_pr__nfet_01v8_, (15.935,-22.86), rotation=pi/2, x_reflection=True))
nmos_cl_02.add(gdstk.Reference(c_sky130_fd_pr__nfet_01v8_, (15.935,-16.46), rotation=pi/2, x_reflection=True))
nmos_cl_02.add(gdstk.Reference(sky130_fd_pr__nfet_01v8_, (17.835,-22.86), rotation=pi/2, x_reflection=True))
nmos_cl_02.add(gdstk.Reference(c_sky130_fd_pr__nfet_01v8_, (17.835,-16.46), rotation=pi/2, x_reflection=True))
nmos_cl_02.add(gdstk.Reference(sky130_fd_pr__nfet_01v8_, (19.735,-22.86), rotation=pi/2, x_reflection=True))
nmos_cl_02.add(gdstk.Reference(c_sky130_fd_pr__nfet_01v8_, (19.735,-16.46), rotation=pi/2, x_reflection=True))
nmos_cl_02.add(gdstk.Reference(sky130_fd_pr__nfet_01v8_, (0.735,-22.86), rotation=pi/2, x_reflection=True))
nmos_cl_02.add(gdstk.Reference(c_sky130_fd_pr__nfet_01v8_, (0.735,-16.46), rotation=pi/2, x_reflection=True))
nmos_cl_02.add(gdstk.Reference(c_sky130_fd_pr__nfet_01v8_, (0.735,-5.56), rotation=pi/2, x_reflection=True))
nmos_cl_02.add(gdstk.Reference(c_sky130_fd_pr__nfet_01v8_, (2.635,-5.56), rotation=pi/2, x_reflection=True))
nmos_cl_02.add(gdstk.Reference(c_sky130_fd_pr__nfet_01v8_, (4.535,-5.56), rotation=pi/2, x_reflection=True))
nmos_cl_02.add(gdstk.Reference(c_sky130_fd_pr__nfet_01v8_, (6.435,-5.56), rotation=pi/2, x_reflection=True))
nmos_cl_02.add(gdstk.Reference(c_sky130_fd_pr__nfet_01v8_, (8.335,-5.56), rotation=pi/2, x_reflection=True))
nmos_cl_02.add(gdstk.Reference(c_sky130_fd_pr__nfet_01v8_, (10.235,-5.56), rotation=pi/2, x_reflection=True))
nmos_cl_02.add(gdstk.Reference(c_sky130_fd_pr__nfet_01v8_, (12.135,-5.56), rotation=pi/2, x_reflection=True))
nmos_cl_02.add(gdstk.Reference(c_sky130_fd_pr__nfet_01v8_, (14.035,-5.56), rotation=pi/2, x_reflection=True))
nmos_cl_02.add(gdstk.Reference(c_sky130_fd_pr__nfet_01v8_, (15.935,-5.56), rotation=pi/2, x_reflection=True))
nmos_cl_02.add(gdstk.Reference(c_sky130_fd_pr__nfet_01v8_, (17.835,-5.56), rotation=pi/2, x_reflection=True))
nmos_cl_02.add(gdstk.Reference(c_sky130_fd_pr__nfet_01v8_, (19.735,-5.56), rotation=pi/2, x_reflection=True))
nmos_cl_02.add(gdstk.Reference(sky130_fd_pr__nfet_01v8_, (2.635,-22.86), rotation=pi/2, x_reflection=True))
nmos_cl_02.add(gdstk.Reference(c_sky130_fd_pr__nfet_01v8_, (2.635,-16.46), rotation=pi/2, x_reflection=True))
nmos_cl_02.add(gdstk.Reference(sky130_fd_pr__nfet_01v8_, (4.535,-22.86), rotation=pi/2, x_reflection=True))
nmos_cl_02.add(gdstk.Reference(c_sky130_fd_pr__nfet_01v8_, (4.535,-16.46), rotation=pi/2, x_reflection=True))
nmos_cl_02.add(gdstk.Reference(c_sky130_fd_pr__nfet_01v8_, (36.835,-16.46), rotation=pi/2, x_reflection=True))
nmos_cl_02.add(gdstk.Reference(sky130_fd_pr__nfet_01v8_, (38.735,-22.86), rotation=pi/2, x_reflection=True))
nmos_cl_02.add(gdstk.Reference(c_sky130_fd_pr__nfet_01v8_, (38.735,-16.46), rotation=pi/2, x_reflection=True))
nmos_cl_02.add(gdstk.Reference(sky130_fd_pr__nfet_01v8_, (40.635,-22.86), rotation=pi/2, x_reflection=True))
nmos_cl_02.add(gdstk.Reference(c_sky130_fd_pr__nfet_01v8_, (40.635,-16.46), rotation=pi/2, x_reflection=True))
nmos_cl_02.add(gdstk.Reference(sky130_fd_pr__nfet_01v8_, (42.535,-22.86), rotation=pi/2, x_reflection=True))
nmos_cl_02.add(gdstk.Reference(c_sky130_fd_pr__nfet_01v8_, (42.535,-16.46), rotation=pi/2, x_reflection=True))
nmos_cl_02.add(gdstk.Reference(sky130_fd_pr__nfet_01v8_, (23.535,-22.86), rotation=pi/2, x_reflection=True))
nmos_cl_02.add(gdstk.Reference(c_sky130_fd_pr__nfet_01v8_, (23.535,-16.46), rotation=pi/2, x_reflection=True))
nmos_cl_02.add(gdstk.Reference(sky130_fd_pr__nfet_01v8_, (25.435,-22.86), rotation=pi/2, x_reflection=True))
nmos_cl_02.add(gdstk.Reference(c_sky130_fd_pr__nfet_01v8_, (25.435,-16.46), rotation=pi/2, x_reflection=True))
nmos_cl_02.add(gdstk.Reference(sky130_fd_pr__nfet_01v8_, (27.335,-22.86), rotation=pi/2, x_reflection=True))
nmos_cl_02.add(gdstk.Reference(c_sky130_fd_pr__nfet_01v8_, (27.335,-16.46), rotation=pi/2, x_reflection=True))
nmos_cl_02.add(gdstk.Reference(sky130_fd_pr__nfet_01v8_, (29.235,-22.86), rotation=pi/2, x_reflection=True))
nmos_cl_02.add(gdstk.Reference(c_sky130_fd_pr__nfet_01v8_, (29.235,-16.46), rotation=pi/2, x_reflection=True))
nmos_cl_02.add(gdstk.Reference(sky130_fd_pr__nfet_01v8_, (31.135,-22.86), rotation=pi/2, x_reflection=True))
nmos_cl_02.add(gdstk.Reference(c_sky130_fd_pr__nfet_01v8_, (31.135,-16.46), rotation=pi/2, x_reflection=True))
nmos_cl_02.add(gdstk.Reference(sky130_fd_pr__nfet_01v8_, (33.035,-22.86), rotation=pi/2, x_reflection=True))
nmos_cl_02.add(gdstk.Reference(c_sky130_fd_pr__nfet_01v8_, (33.035,-16.46), rotation=pi/2, x_reflection=True))
nmos_cl_02.add(gdstk.Reference(c_sky130_fd_pr__nfet_01v8_, (23.535,-5.56), rotation=pi/2, x_reflection=True))
nmos_cl_02.add(gdstk.Reference(c_sky130_fd_pr__nfet_01v8_, (25.435,-5.56), rotation=pi/2, x_reflection=True))
nmos_cl_02.add(gdstk.Reference(c_sky130_fd_pr__nfet_01v8_, (27.335,-5.56), rotation=pi/2, x_reflection=True))
nmos_cl_02.add(gdstk.Reference(c_sky130_fd_pr__nfet_01v8_, (29.235,-5.56), rotation=pi/2, x_reflection=True))
nmos_cl_02.add(gdstk.Reference(c_sky130_fd_pr__nfet_01v8_, (31.135,-5.56), rotation=pi/2, x_reflection=True))
nmos_cl_02.add(gdstk.Reference(c_sky130_fd_pr__nfet_01v8_, (33.035,-5.56), rotation=pi/2, x_reflection=True))
nmos_cl_02.add(gdstk.Reference(c_sky130_fd_pr__nfet_01v8_, (34.935,-5.56), rotation=pi/2, x_reflection=True))
nmos_cl_02.add(gdstk.Reference(c_sky130_fd_pr__nfet_01v8_, (36.835,-5.56), rotation=pi/2, x_reflection=True))
nmos_cl_02.add(gdstk.Reference(c_sky130_fd_pr__nfet_01v8_, (38.735,-5.56), rotation=pi/2, x_reflection=True))
nmos_cl_02.add(gdstk.Reference(c_sky130_fd_pr__nfet_01v8_, (40.635,-5.56), rotation=pi/2, x_reflection=True))
nmos_cl_02.add(gdstk.Reference(c_sky130_fd_pr__nfet_01v8_, (42.535,-5.56), rotation=pi/2, x_reflection=True))
nmos_cl_02.add(gdstk.Reference(sky130_fd_pr__nfet_01v8_, (34.935,-22.86), rotation=pi/2, x_reflection=True))
nmos_cl_02.add(gdstk.Reference(c_sky130_fd_pr__nfet_01v8_, (34.935,-16.46), rotation=pi/2, x_reflection=True))
nmos_cl_02.add(gdstk.Reference(sky130_fd_pr__nfet_01v8_, (36.835,-22.86), rotation=pi/2, x_reflection=True))
nmos_cl_02.add(gdstk.Label('Vss', (0.3,27.3), layer=68, texttype=5))
nmos_cl_02.add(gdstk.Label('Vss', (0.3,-26.35), layer=68, texttype=5))
nmos_cl_02.add(gdstk.Label('Vbias2', (-2.65,25.95), layer=71, texttype=5))

lib.write_gds('nmos_cl_02.gds')
